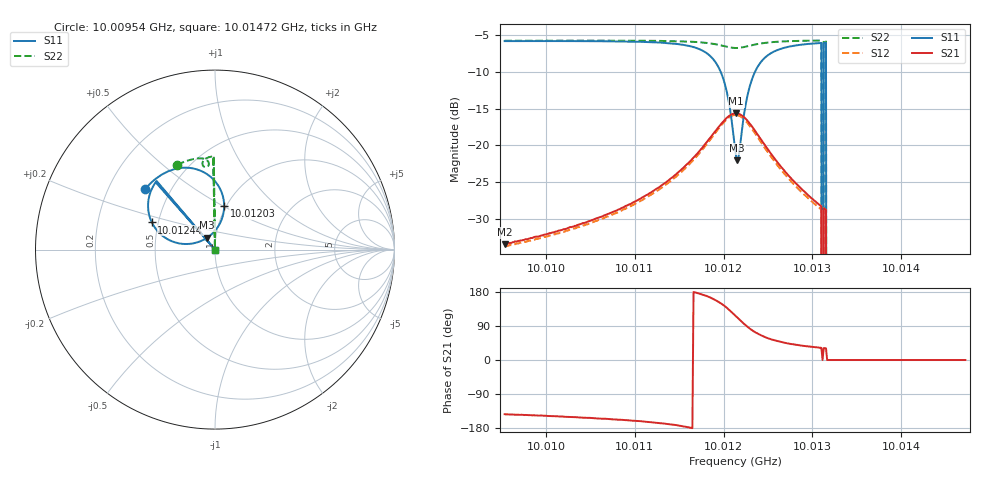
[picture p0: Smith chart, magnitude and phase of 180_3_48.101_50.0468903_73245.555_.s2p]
#  HZ  S  RI  R  50.00
! Rohde & Schwarz Vector Network Analyzer
! Rohde-Schwarz,ZNB20-2Port,1311601062101988,3.16
! Created: UTC 12/23/2023, 3:52:40 AM
! freq[Hz]  re:S11  im:S11  re:S21  im:S21  re:S12  im:S12  re:S22  im:S22
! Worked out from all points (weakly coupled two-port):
!   401 points, 10.00954 GHz to 10.01472 GHz, reference 50 ohm
!   highest |S21| = -15.62 dB at 10.01214 GHz (marker M1); lowest = -33.5 dB at 10.00954 GHz (marker M2)
!   lowest |S11| = -22.0 dB at 10.01216 GHz (marker M3), VSWR 1.17, Z = 45.5 + j6.1 ohm
!   |S11| at or under -10 dB: 10.01197 GHz to 10.01235 GHz (383.3 kHz wide, 0.00383 % of centre); 10.0131 GHz to 10.01313 GHz (25.41 kHz wide, 0.000254 % of centre); 10.01315 GHz to end of sweep
!   |S22| runs from - to -5.7 dB; largest |S21 - S12| = 0.0084
!   S11 on the Smith chart (normalised r, x): 10.00954 GHz: 0.36, +0.33; 10.01203 GHz: 0.98, +0.51; 10.01244 GHz: 0.46, +0.16; 10.01472 GHz: 1.00, +0.00
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1.0009535e10  -0.3897 0.3366  -0.0169 -0.0127  -0.0158 -0.0132  -0.2097 0.4737
1.0010404e10  -0.3348 0.391  -0.0259 -0.0137  -0.0241 -0.0145  -0.1553 0.4948
1.0011273e10  -0.2331 0.4464  -0.0503 -0.0123  -0.0477 -0.0144  -0.094 0.5081
1.0011805e10  -0.0521 0.4252  -0.1023 0.0193  -0.0999 0.0135  -0.0458 0.4989
1.0011935e10  0.0227 0.3488  -0.1186 0.0563  -0.1183 0.0486  -0.0355 0.4856
1.0012026e10  0.0509 0.2427  -0.1164 0.0978  -0.1178 0.0901  -0.0351 0.4719
1.0012129e10  -0.00905 0.0951  -0.077 0.1465  -0.081 0.1396  -0.0477 0.4598
1.0012142e10  -0.0255 0.0797  -0.0691 0.1505  -0.0738 0.1435  -0.0498 0.4593
1.0012155e10  -0.0431 0.0666  -0.0613 0.1534  -0.0658 0.1469  -0.0524 0.4593
1.0012181e10  -0.0818 0.0463  -0.0452 0.1569  -0.0494 0.1509  -0.0568 0.46
1.0012298e10  -0.2509 0.0512  0.0185 0.1393  0.013 0.1347  -0.0694 0.4744
1.0012441e10  -0.3518 0.1512  0.0477 0.0943  0.0424 0.0918  -0.0656 0.494
1.0012674e10  -0.3708 0.2752  0.0475 0.0494  0.0431 0.0488  -0.0458 0.5104
1.0012999e10  -0.3412 0.3587  0.0356 0.0246  0.0327 0.0251  -0.0186 0.5185
1.0013076e10  -0.3335 0.3715  0.0333 0.0213  0.0307 0.0218  -0.0124 0.5195
1.0013089e10  -0.332 0.3734  0.0329 0.0209  0.0304 0.0212  -0.0114 0.5197
1.0013128e10  -0.328 0.3789  0.0319 0.0194  0.0293 0.0201  -0.00851 0.52
1.0013141e10  -0.3267 0.3806  0.0316 0.0191  0.0289 0.0196  -0.00756 0.52
1.0013154e10  -0.3256 0.3825  0.0312 0.0186  0.0286 0.0192  -0.00659 0.5202
1.0013193e10  0 0  0 0  0 0  0 0
1.0013868e10  0 0  0 0  0 0  0 0
1.0014724e10  0 0  0 0  0 0  0 0
